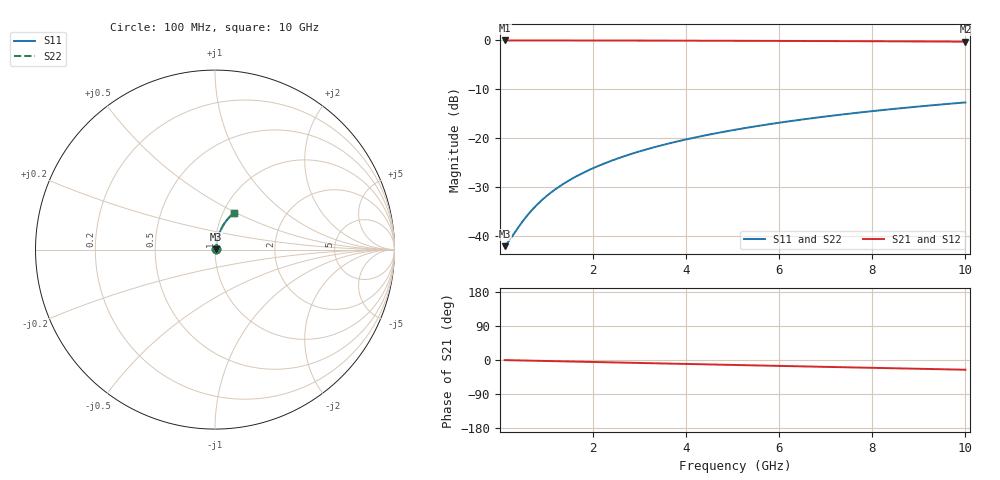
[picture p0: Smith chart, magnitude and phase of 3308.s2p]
# Hz S RI R 50.00
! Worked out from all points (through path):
!   100 points, 100 MHz to 10 GHz, reference 50 ohm
!   highest |S21| = -0.07 dB at 100 MHz (marker M1); lowest = -0.3 dB at 10 GHz (marker M2)
!   group delay of S21, straight-line fit = 7.14 ps
!   lowest |S11| = -42.1 dB at 100 MHz (marker M3), VSWR 1.02, Z = 50.8 + j0.243 ohm
!   |S11| at or under -10 dB: start of sweep to end of sweep
!   |S22| runs from -42.1 to -12.7 dB; largest |S21 - S12| = 0
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1e8  0.00747 0.0024  0.9925 -0.00452  0.9925 -0.00452  0.00747 0.0024
2e8  0.00755 0.00479  0.9924 -0.00904  0.9924 -0.00904  0.00755 0.00479
4e8  0.00774 0.00958  0.9922 -0.0181  0.9922 -0.0181  0.00774 0.00958
5e8  0.00787 0.012  0.9921 -0.0226  0.9921 -0.0226  0.00787 0.012
6e8  0.00801 0.0144  0.9919 -0.0271  0.9919 -0.0271  0.00801 0.0144
7e8  0.00817 0.0168  0.9917 -0.0316  0.9917 -0.0316  0.00817 0.0168
9e8  0.00855 0.0215  0.9912 -0.0407  0.9912 -0.0407  0.00855 0.0215
1.1e9  0.00902 0.0263  0.9907 -0.0497  0.9907 -0.0497  0.00902 0.0263
1.3e9  0.00957 0.031  0.99 -0.0587  0.99 -0.0587  0.00957 0.031
1.5e9  0.0102 0.0358  0.9893 -0.0677  0.9893 -0.0677  0.0102 0.0358
1.8e9  0.0113 0.0429  0.9879 -0.0811  0.9879 -0.0811  0.0113 0.0429
2.1e9  0.0126 0.0499  0.9864 -0.0946  0.9864 -0.0946  0.0126 0.0499
2.5e9  0.0146 0.0593  0.9839 -0.1124  0.9839 -0.1124  0.0146 0.0593
2.9e9  0.017 0.0685  0.981 -0.1302  0.981 -0.1302  0.017 0.0685
3.4e9  0.0204 0.0799  0.9769 -0.1522  0.9769 -0.1522  0.0204 0.0799
4.2e9  0.0269 0.0978  0.969 -0.1871  0.969 -0.1871  0.0269 0.0978
5.1e9  0.0357 0.1171  0.9583 -0.2257  0.9583 -0.2257  0.0357 0.1171
5.9e9  0.0448 0.1337  0.9472 -0.2593  0.9472 -0.2593  0.0448 0.1337
6.7e9  0.0549 0.1494  0.9347 -0.2921  0.9347 -0.2921  0.0549 0.1494
7.5e9  0.0661 0.1643  0.9208 -0.3241  0.9208 -0.3241  0.0661 0.1643
8.4e9  0.0799 0.1799  0.9037 -0.359  0.9037 -0.359  0.0799 0.1799
1e10  0.1069 0.2046  0.8698 -0.4179  0.8698 -0.4179  0.1069 0.2046
